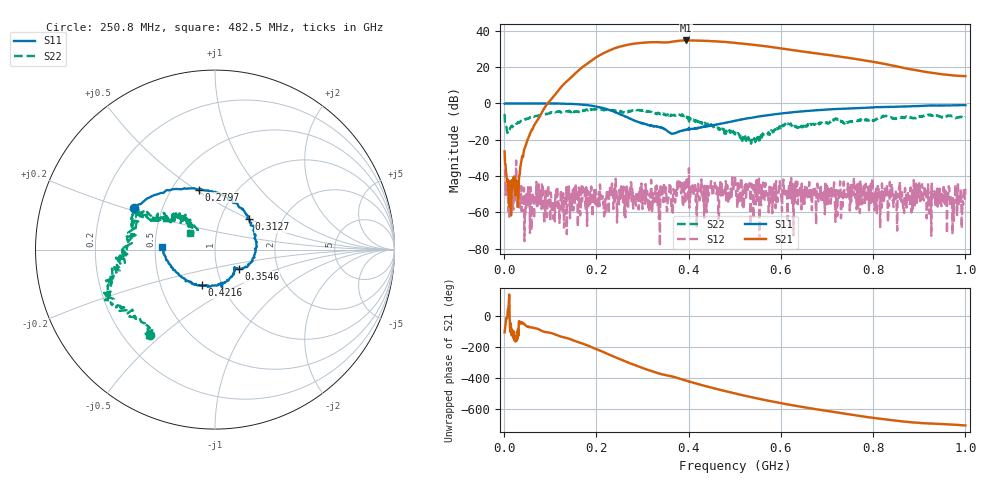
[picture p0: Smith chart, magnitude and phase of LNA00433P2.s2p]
! Created with skrf 1.9.0 (http://scikit-rf.org).
# Hz S RI R 50.0
!freq ReS11 ImS11 ReS21 ImS21 ReS12 ImS12 ReS22 ImS22
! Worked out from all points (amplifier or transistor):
!   1001 points, 1 MHz to 1 GHz, reference 50 ohm
!   highest |S21| = 34.7 dB at 394.6 MHz (marker M1)
!   |S21| within 3 dB of that: 257.1 MHz to 560.6 MHz (303.5 MHz wide, 74.2 % of centre)
!   unconditionally stable (mu >= 1): 242.3 MHz to 318.6 MHz; 318.8 MHz to 400.4 MHz; 400.8 MHz to end of sweep (the widest 3 of 45)
!   at 166.8 MHz: K = 1.46, MAG = 29.1 dB, |S12| = -46.8 dB
!   at 500.5 MHz: K = 1.12, MAG = 34.4 dB, |S12| = -39.5 dB
!   at 1 GHz: K = 3.24, MAG = 23.0 dB, |S12| = -47.0 dB
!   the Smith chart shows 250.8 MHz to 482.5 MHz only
!   S11 on the Smith chart (normalised r, x): 250.8 MHz: 0.35, +0.22; 279.7 MHz: 0.68, +0.52; 312.7 MHz: 1.36, +0.49; 354.6 MHz: 1.27, -0.28; 421.6 MHz: 0.80, -0.33; 482.5 MHz: 0.54, +0.02
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1000000  0.9802 -0.00183  -0.0136 -0.0459  -0.0153 0.00112  0.3629 0.366
1.08892e8  0.5269 -0.8455  -0.7761 -1.472  0.00122 0.000735  0.4197 -0.3793
1.67833e8  -0.2273 -0.9018  -9.574 -0.5981  0.0023 -0.00545  0.0423 -0.6447
2.12788e8  -0.676 -0.333  -14.77 17.95  0.00108 -0.0022  -0.2097 -0.6294
2.31769e8  -0.6391 -0.0114  -7.584 29.17  -0.000693 0.00296  -0.2933 -0.5684
2.5075e8  -0.4493 0.2316  5.938 36.12  0.000205 -0.00219  -0.3601 -0.4766
2.79721e8  -0.0896 0.3346  30.65 31.66  -0.000835 -0.000949  -0.5814 -0.294
3.12688e8  0.1897 0.1694  47.5 8.054  -0.000273 0.00111  -0.5669 -0.1687
3.34666e8  0.2252 -0.0154  47.82 -9.691  0.000604 0.00206  -0.5329 -0.0504
3.54646e8  0.1316 -0.1077  43.32 -21.09  0.00147 0.0017  -0.4988 0.0637
3.72628e8  0.1094 -0.1122  40.88 -32.93  -0.00206 0.0015  -0.4544 0.148
3.94606e8  0.0573 -0.1802  27.85 -46.81  0.00277 0.00279  -0.4068 0.1904
4.21579e8  -0.0725 -0.198  7.38 -53.19  0.00443 0.00053  -0.2641 0.1768
4.49551e8  -0.2026 -0.1358  -13.25 -50.47  0.00593 0.00204  -0.1809 0.1813
4.82518e8  -0.2961 0.0165  -30.94 -37.89  0.00154 -0.0009  -0.1368 0.0946
5.005e8  -0.3111 0.1275  -37.15 -28.71  0.0105 0.00101  -0.1202 0.071
5.38462e8  -0.2443 0.328  -40.81 -8.71  0.00359 -0.00164  -0.0977 -0.0115
5.85415e8  -0.0506 0.4984  -33.58 10.29  -0.00289 -0.00525  -0.1803 -0.0458
6.67333e8  0.3374 0.5372  -12.26 21.5  0.000286 -0.0011  -0.2654 -0.0102
7.55245e8  0.6415 0.3612  3.229 16.99  0.00161 -0.00531  -0.3129 0.0713
8.34166e8  0.7922 0.1363  8.015 8.434  0.00123 0.000871  -0.4124 0.1132
1e9  0.8069 -0.4007  5.575 1.012  -0.00436 -0.000966  -0.1551 0.3977
